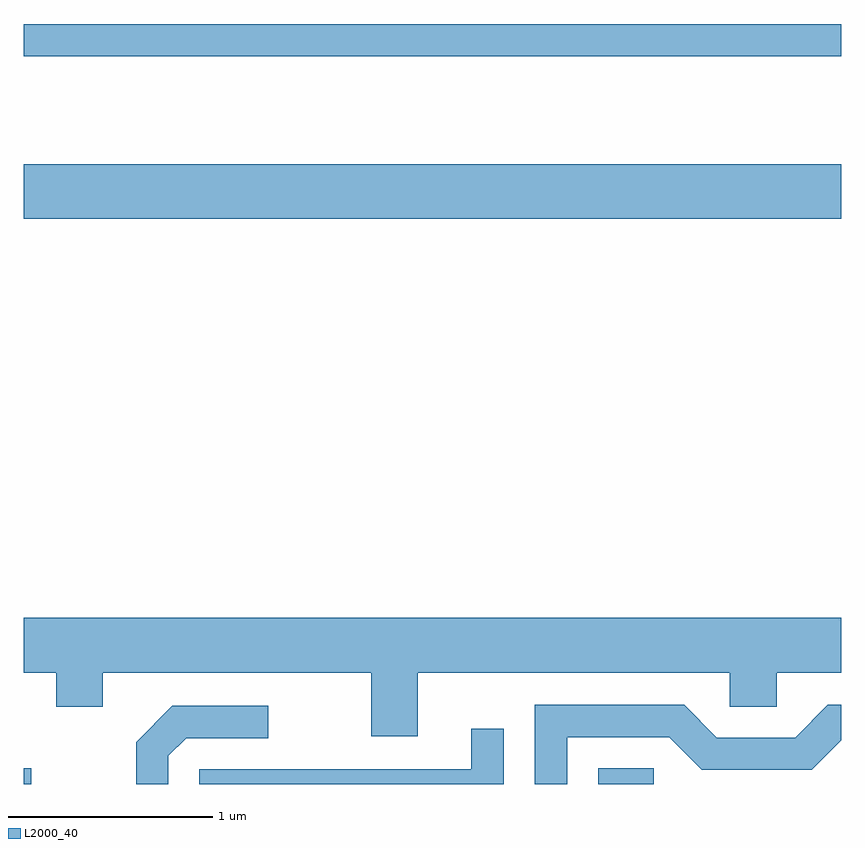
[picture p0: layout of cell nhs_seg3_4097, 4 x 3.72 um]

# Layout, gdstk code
import gdstk
lib = gdstk.Library(unit=1e-6, precision=1e-09)
def R(c, l, rs):  # rectangles x0, y0, x1, y1
    for r in rs: c.add(gdstk.rectangle(r[:2], r[2:], *l))
def P(c, l, *ps):  # polygons
    for p in ps: c.add(gdstk.Polygon(p, *l))
L2000_40 = (2000, 40)

nhs_seg3_4097 = lib.new_cell('nhs_seg3_4097')
R(nhs_seg3_4097, L2000_40, [(305.611,1149.892,305.648,1149.969), (308.421,1149.892,308.693,1149.969), (305.611,1152.656,309.611,1152.924), (305.611,1153.451,309.611,1153.609)])
P(nhs_seg3_4097, L2000_40, [(307.539,1150.436),(309.066,1150.436),(309.066,1150.271),(309.294,1150.271),(309.294,1150.436),(309.611,1150.436),(309.611,1150.704),(305.611,1150.704),(305.611,1150.436),(305.771,1150.436),(305.771,1150.271),(305.999,1150.271),(305.999,1150.436),(307.311,1150.436),(307.311,1150.126),(307.539,1150.126)],
  [(308.269,1150.121),(308.769,1150.121),(308.929,1149.961),(309.467,1149.961),(309.611,1150.105),(309.611,1150.279),(309.544,1150.279),(309.384,1150.119),(309.002,1150.119),(308.842,1150.279),(308.111,1150.279),(308.111,1149.892),(308.269,1149.892)],
  [(306.319,1150.029),(306.407,1150.116),(306.808,1150.116),(306.808,1150.274),(306.339,1150.274),(306.161,1150.097),(306.161,1149.892),(306.319,1149.892)],
  [(307.959,1150.163),(307.801,1150.163),(307.801,1149.964),(306.471,1149.964),(306.471,1149.892),(307.959,1149.892)])

lib.write_gds('nhs_seg3_4097.gds')
